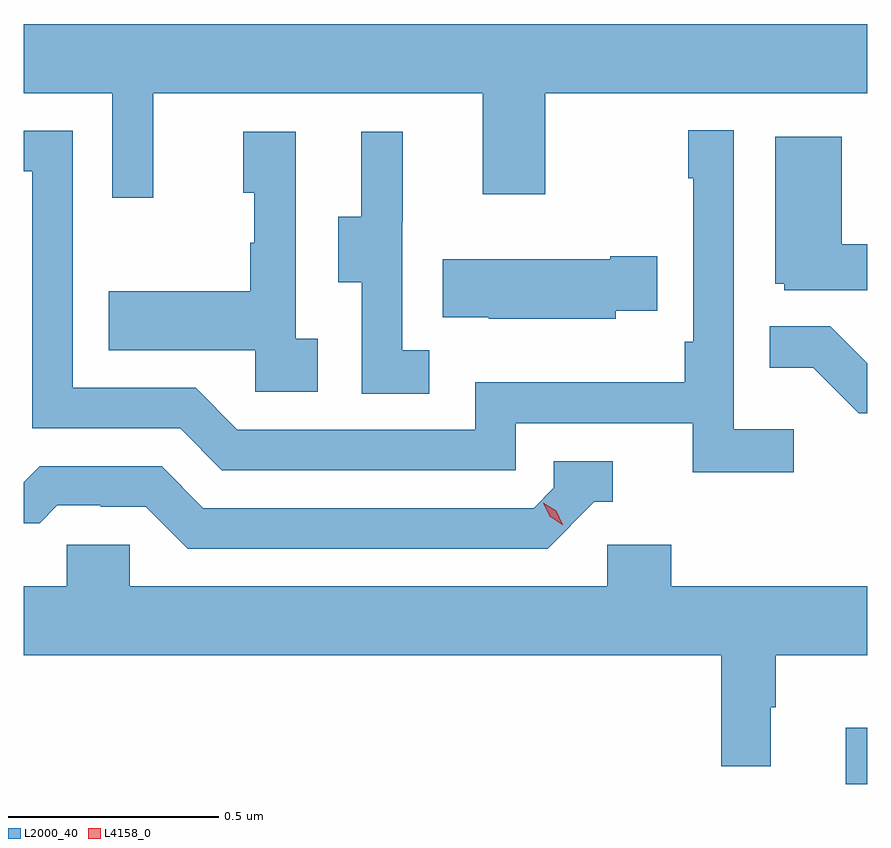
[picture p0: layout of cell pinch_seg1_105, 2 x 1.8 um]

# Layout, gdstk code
import gdstk
lib = gdstk.Library(unit=1e-6, precision=1e-09)
def R(c, l, rs):  # rectangles x0, y0, x1, y1
    for r in rs: c.add(gdstk.rectangle(r[:2], r[2:], *l))
def P(c, l, *ps):  # polygons
    for p in ps: c.add(gdstk.Polygon(p, *l))
L2000_40 = (2000, 40)
L4158_0 = (4158, 0)

pinch_seg1_105 = lib.new_cell('pinch_seg1_105')
R(pinch_seg1_105, L2000_40, [(1033.754,562.083,1033.805,562.216)])
P(pinch_seg1_105, L2000_40, [(1032.113,563.72),(1032.893,563.72),(1032.893,563.481),(1033.041,563.481),(1033.041,563.72),(1033.805,563.72),(1033.805,563.884),(1031.805,563.884),(1031.805,563.72),(1032.015,563.72),(1032.015,563.472),(1032.113,563.472)],
  [(1033.63,562.924),(1033.488,562.924),(1033.488,563.632),(1033.38,563.632),(1033.38,563.519),(1033.392,563.519),(1033.392,563.131),(1033.372,563.131),(1033.372,563.035),(1032.876,563.035),(1032.876,562.923),(1032.312,562.923),(1032.213,563.022),(1031.922,563.022),(1031.922,563.631),(1031.805,563.631),(1031.805,563.535),(1031.826,563.535),(1031.826,562.926),(1032.176,562.926),(1032.275,562.827),(1032.972,562.827),(1032.972,562.938),(1033.391,562.938),(1033.391,562.822),(1033.63,562.822)],
  [(1032.502,563.138),(1032.45,563.138),(1032.45,563.629),(1032.326,563.629),(1032.326,563.484),(1032.352,563.484),(1032.352,563.366),(1032.342,563.366),(1032.342,563.251),(1032.007,563.251),(1032.007,563.111),(1032.354,563.111),(1032.354,563.013),(1032.502,563.013)],
  [(1032.766,563.111),(1032.702,563.111),(1032.702,563.415),(1032.704,563.415),(1032.704,563.629),(1032.605,563.629),(1032.605,563.427),(1032.551,563.427),(1032.551,563.272),(1032.606,563.272),(1032.606,563.008),(1032.766,563.008)],
  [(1033.805,563.362),(1033.744,563.362),(1033.744,563.617),(1033.586,563.617),(1033.586,563.268),(1033.608,563.268),(1033.608,563.253),(1033.805,563.253)],
  [(1033.209,563.204),(1033.307,563.204),(1033.307,563.334),(1033.196,563.334),(1033.196,563.326),(1032.799,563.326),(1032.799,563.189),(1032.907,563.189),(1032.907,563.186),(1033.209,563.186)],
  [(1033.805,563.08),(1033.717,563.168),(1033.573,563.168),(1033.573,563.069),(1033.677,563.069),(1033.784,562.962),(1033.805,562.962)],
  [(1033.158,562.752),(1033.201,562.752),(1033.201,562.848),(1033.062,562.848),(1033.062,562.785),(1033.014,562.737),(1032.231,562.737),(1032.132,562.836),(1031.843,562.836),(1031.805,562.798),(1031.805,562.701),(1031.843,562.701),(1031.885,562.743),(1031.988,562.743),(1031.988,562.74),(1032.095,562.74),(1032.194,562.641),(1033.047,562.641)],
  [(1033.576,562.265),(1033.588,562.265),(1033.588,562.388),(1033.805,562.388),(1033.805,562.552),(1033.34,562.552),(1033.34,562.65),(1033.188,562.65),(1033.188,562.552),(1032.057,562.552),(1032.057,562.65),(1031.907,562.65),(1031.907,562.552),(1031.805,562.552),(1031.805,562.388),(1033.459,562.388),(1033.459,562.125),(1033.576,562.125)])
P(pinch_seg1_105, L4158_0, [(1033.082,562.697),(1033.052,562.717),(1033.037,562.75),(1033.037,562.75),(1033.037,562.75),(1033.067,562.73),(1033.083,562.697),(1033.083,562.697)])

lib.write_gds('pinch_seg1_105.gds')
